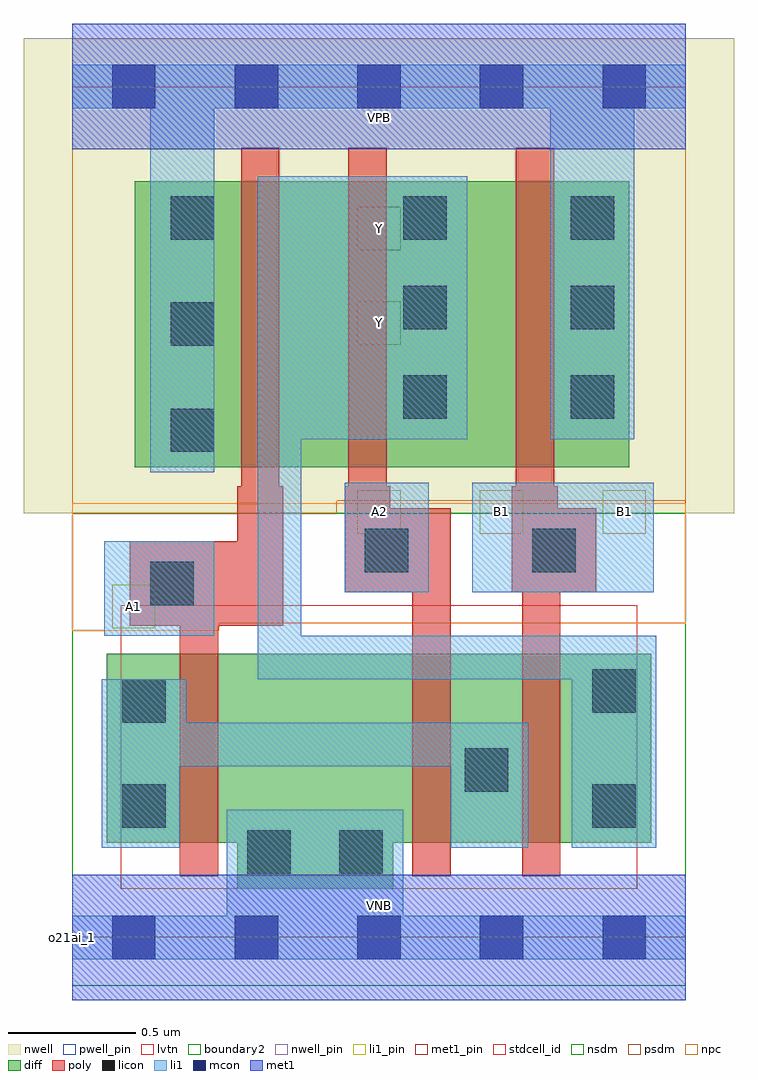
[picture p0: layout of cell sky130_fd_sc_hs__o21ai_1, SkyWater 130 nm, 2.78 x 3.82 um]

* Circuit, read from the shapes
.subckt sky130_fd_sc_hs__o21ai_1 A1 A2 B1 VGND VNB VPB VPWR Y
XM1 VGND A1 n1 VNB sky130_fd_pr__nfet_01v8_lvt w=0.74 l=0.15
XM2 n1 A2 VGND VNB sky130_fd_pr__nfet_01v8_lvt w=0.74 l=0.15
XM3 Y B1 n1 VNB sky130_fd_pr__nfet_01v8_lvt w=0.74 l=0.15
XM4 n2 A1 VPWR VPB sky130_fd_pr__pfet_01v8 w=1.12 l=0.15
XM5 Y A2 n2 VPB sky130_fd_pr__pfet_01v8 w=1.12 l=0.15
XM6 VPWR B1 Y VPB sky130_fd_pr__pfet_01v8 w=1.12 l=0.15
.ends

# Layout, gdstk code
import gdstk
lib = gdstk.Library(unit=1e-6, precision=1e-09)
def R(c, l, rs):  # rectangles x0, y0, x1, y1
    for r in rs: c.add(gdstk.rectangle(r[:2], r[2:], *l))
def A(c, l, x, y, w, h, nx, ny, dx, dy):  # array of equal rectangles
    R(c, l, [(x+i*dx, y+j*dy, x+i*dx+w, y+j*dy+h) for i in range(nx) for j in range(ny)])
def P(c, l, *ps):  # polygons
    for p in ps: c.add(gdstk.Polygon(p, *l))
nwell_pin = (64, 16)
nwell = (64, 20)
diff = (65, 20)
poly = (66, 20)
licon = (66, 44)
li1_pin = (67, 16)
li1 = (67, 20)
mcon = (67, 44)
met1_pin = (68, 16)
met1 = (68, 20)
stdcell_id = (81, 4)
nsdm = (93, 44)
psdm = (94, 20)
npc = (95, 20)
pwell_pin = (122, 16)
lvtn = (125, 44)
boundary2 = (236, 0)

sky130_fd_sc_hs__o21ai_1 = lib.new_cell('sky130_fd_sc_hs__o21ai_1')
R(sky130_fd_sc_hs__o21ai_1, nwell_pin, [(0,3.085,2.4,3.33)])
R(sky130_fd_sc_hs__o21ai_1, nwell, [(-0.19,1.66,2.59,3.52)])
R(sky130_fd_sc_hs__o21ai_1, diff, [(0.245,1.84,2.18,2.96)])
P(sky130_fd_sc_hs__o21ai_1, diff, [(2.265,1.11),(0.135,1.11),(0.135,0.37),(0.645,0.37),(0.645,0.19),(1.255,0.19),(1.255,0.37),(2.265,0.37)])
P(sky130_fd_sc_hs__o21ai_1, poly, [(0.825,1.765),(0.81,1.765),(0.81,3.09),(0.66,3.09),(0.66,1.765),(0.645,1.765),(0.645,1.55),(0.225,1.55),(0.225,1.22),(0.42,1.22),(0.42,0.24),(0.57,0.24),(0.57,1.22),(0.825,1.22)],
  [(1.48,1.68),(1.245,1.68),(1.245,1.765),(1.23,1.765),(1.23,3.09),(1.08,3.09),(1.08,1.765),(1.065,1.765),(1.065,1.35),(1.33,1.35),(1.33,0.24),(1.48,0.24)],
  [(2.05,1.68),(1.9,1.68),(1.9,1.765),(1.885,1.765),(1.885,3.09),(1.735,3.09),(1.735,1.765),(1.72,1.765),(1.72,1.35),(1.76,1.35),(1.76,0.24),(1.91,0.24),(1.91,1.35),(2.05,1.35)])
A(sky130_fd_sc_hs__o21ai_1, licon, 0.385, 1.9, 0.17, 0.17, 1, 3, 0, 0.415)
A(sky130_fd_sc_hs__o21ai_1, licon, 1.295, 2.03, 0.17, 0.17, 1, 3, 0, 0.35)
A(sky130_fd_sc_hs__o21ai_1, licon, 1.95, 2.03, 0.17, 0.17, 1, 3, 0, 0.35)
R(sky130_fd_sc_hs__o21ai_1, licon, [(0.685,0.25,0.855,0.42), (1.045,0.25,1.215,0.42), (0.195,0.43,0.365,0.6), (2.035,0.43,2.205,0.6), (1.535,0.57,1.705,0.74), (0.195,0.84,0.365,1.01), (2.035,0.88,2.205,1.05), (0.305,1.3,0.475,1.47), (1.145,1.43,1.315,1.6), (1.8,1.43,1.97,1.6)])
A(sky130_fd_sc_hs__o21ai_1, li1_pin, 1.115, 1.58, 0.17, 0.17, 3, 1, 0.48, 0)
R(sky130_fd_sc_hs__o21ai_1, li1_pin, [(0.155,1.21,0.325,1.38), (1.115,2.32,1.285,2.49), (1.115,2.69,1.285,2.86)])
R(sky130_fd_sc_hs__o21ai_1, li1, [(0.125,1.18,0.555,1.55), (1.065,1.35,1.395,1.78), (1.565,1.35,2.275,1.78)])
P(sky130_fd_sc_hs__o21ai_1, li1, [(1.87,1.95),(1.87,3.245),(0.555,3.245),(0.555,1.82),(0.305,1.82),(0.305,3.245),(0,3.245),(0,3.415),(2.4,3.415),(2.4,3.245),(2.2,3.245),(2.2,1.95)],
  [(0.605,0.085),(0.605,0.5),(1.295,0.5),(1.295,0.085),(2.4,0.085),(2.4,-0.085),(0,-0.085),(0,0.085)],
  [(0.725,2.98),(1.545,2.98),(1.545,1.95),(0.895,1.95),(0.895,1.18),(2.285,1.18),(2.285,0.35),(1.955,0.35),(1.955,1.01),(0.725,1.01)],
  [(1.48,0.35),(1.48,0.67),(0.42,0.67),(0.42,0.35),(0.115,0.35),(0.115,1.01),(0.445,1.01),(0.445,0.84),(1.785,0.84),(1.785,0.35)])
A(sky130_fd_sc_hs__o21ai_1, mcon, 0.155, -0.085, 0.17, 0.17, 5, 2, 0.48, 3.33)
R(sky130_fd_sc_hs__o21ai_1, met1_pin, [(0,0,2.4,0.245), (0,3.085,2.4,3.33)])
R(sky130_fd_sc_hs__o21ai_1, met1, [(0,-0.245,2.4,0.245), (0,3.085,2.4,3.575)])
R(sky130_fd_sc_hs__o21ai_1, stdcell_id, [(0,0,2.4,3.33)])
R(sky130_fd_sc_hs__o21ai_1, nsdm, [(0,-0.19,2.4,1.66)])
P(sky130_fd_sc_hs__o21ai_1, psdm, [(2.4,3.52),(0,3.52),(0,1.66),(1.035,1.66),(1.035,1.71),(2.4,1.71)])
P(sky130_fd_sc_hs__o21ai_1, npc, [(2.4,1.7),(0,1.7),(0,1.2),(0.575,1.2),(0.575,1.23),(2.4,1.23)])
R(sky130_fd_sc_hs__o21ai_1, pwell_pin, [(0,0,2.4,0.245)])
R(sky130_fd_sc_hs__o21ai_1, lvtn, [(0.19,0.19,2.21,1.3)])
R(sky130_fd_sc_hs__o21ai_1, boundary2, [(0,0,2.4,3.33)])
sky130_fd_sc_hs__o21ai_1.add(gdstk.Label('o21ai_1', (0,0), layer=83, texttype=44))
sky130_fd_sc_hs__o21ai_1.add(gdstk.Label('VNB', (1.2,0.123), layer=64, texttype=59))
sky130_fd_sc_hs__o21ai_1.add(gdstk.Label('VPB', (1.2,3.208), layer=64, texttype=5))
sky130_fd_sc_hs__o21ai_1.add(gdstk.Label('VPWR', (1.2,3.208), layer=68, texttype=5))
sky130_fd_sc_hs__o21ai_1.add(gdstk.Label('VGND', (1.2,0.123), layer=68, texttype=5))
sky130_fd_sc_hs__o21ai_1.add(gdstk.Label('Y', (1.2,2.405), layer=67, texttype=5))
sky130_fd_sc_hs__o21ai_1.add(gdstk.Label('Y', (1.2,2.775), layer=67, texttype=5))
sky130_fd_sc_hs__o21ai_1.add(gdstk.Label('B1', (1.68,1.665), layer=67, texttype=5))
sky130_fd_sc_hs__o21ai_1.add(gdstk.Label('B1', (2.16,1.665), layer=67, texttype=5))
sky130_fd_sc_hs__o21ai_1.add(gdstk.Label('A2', (1.2,1.665), layer=67, texttype=5))
sky130_fd_sc_hs__o21ai_1.add(gdstk.Label('A1', (0.24,1.295), layer=67, texttype=5))

lib.write_gds('sky130_fd_sc_hs__o21ai_1.gds')
